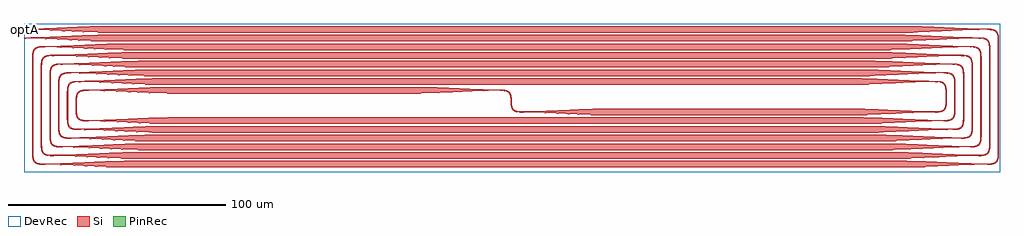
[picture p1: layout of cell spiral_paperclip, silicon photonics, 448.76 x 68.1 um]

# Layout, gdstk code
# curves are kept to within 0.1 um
import gdstk
lib = gdstk.Library(unit=1e-6, precision=1e-09)
def R(c, l, rs):  # rectangles x0, y0, x1, y1
    for r in rs: c.add(gdstk.rectangle(r[:2], r[2:], *l))
def P(c, l, *ps):  # polygons
    for p in ps: c.add(gdstk.Polygon(p, *l))
Si = (1, 0)
PinRec = (1, 10)
DevRec = (68, 0)

spiral_paperclip = lib.new_cell('spiral_paperclip')
R(spiral_paperclip, Si, [(-175,-30.5,179,-27.5), (-171,-26.5,175,-23.5), (-167,-22.5,171,-19.5), (-163,-18.5,167,-15.5), (-159,-14.5,163,-11.5), (-155,-10.5,159,-7.5), (45,-6.5,155,-3.5), (-155,3.5,-45,6.5), (-159,7.5,155,10.5), (-163,11.5,159,14.5), (-167,15.5,163,18.5), (-171,19.5,167,22.5), (-175,23.5,171,26.5), (-184,27.5,175,30.5), (-184,31.5,179,34.5)])
P(spiral_paperclip, Si, [(215,-25.25),(215,-24.75),(216.386,-24.696),(217.48,-24.521),(218.304,-24.209),(218.897,-23.746),(219.314,-23.093),(219.555,-22.341),(219.712,-21.206),(219.75,-20),(219.75,24),(219.696,25.386),(219.554,26.342),(219.36,26.982),(219.093,27.494),(218.667,27.966),(218.093,28.314),(217.341,28.555),(216.206,28.712),(215,28.75),(215,29.25),(216.431,29.195),(217.603,29.006),(218.543,28.648),(219.177,28.177),(219.647,27.544),(220.005,26.604),(220.194,25.432),(220.25,24),(220.25,-20),(220.177,-21.613),(220.006,-22.603),(219.711,-23.422),(219.267,-24.082),(218.772,-24.509),(218.168,-24.824),(217.293,-25.074),(216.243,-25.209)],
  [(-211,-25.25),(-212.431,-25.195),(-213.603,-25.006),(-214.543,-24.648),(-215.177,-24.177),(-215.647,-23.544),(-216.005,-22.604),(-216.194,-21.432),(-216.25,-20),(-216.25,16),(-216.156,17.79),(-215.966,18.75),(-215.711,19.422),(-215.267,20.082),(-214.772,20.509),(-214.168,20.824),(-213.293,21.074),(-212.243,21.209),(-211,21.25),(-211,20.75),(-212.386,20.696),(-213.48,20.521),(-214.304,20.209),(-214.897,19.746),(-215.314,19.093),(-215.555,18.341),(-215.712,17.206),(-215.75,16),(-215.75,-20),(-215.659,-21.729),(-215.521,-22.48),(-215.313,-23.094),(-214.965,-23.668),(-214.582,-24.031),(-213.981,-24.361),(-213.196,-24.585),(-212.206,-24.712),(-211,-24.75)],
  [(207,-17.25),(207,-16.75),(208.386,-16.696),(209.48,-16.521),(210.304,-16.209),(210.897,-15.746),(211.314,-15.093),(211.555,-14.341),(211.712,-13.206),(211.75,-12),(211.75,16),(211.637,17.89),(211.485,18.613),(211.262,19.201),(210.965,19.668),(210.582,20.031),(209.981,20.361),(209.196,20.585),(208.206,20.712),(207,20.75),(207,21.25),(208.431,21.195),(209.603,21.006),(210.543,20.648),(211.177,20.177),(211.647,19.544),(212.005,18.604),(212.194,17.432),(212.25,16),(212.25,-12),(212.132,-13.963),(211.923,-14.893),(211.648,-15.543),(211.267,-16.082),(210.772,-16.509),(210.168,-16.824),(209.293,-17.074),(208.243,-17.209)],
  [(-203,-17.25),(-204.431,-17.195),(-205.603,-17.006),(-206.543,-16.648),(-207.177,-16.177),(-207.647,-15.544),(-208.005,-14.604),(-208.194,-13.432),(-208.25,-12),(-208.249,8.221),(-208.195,9.431),(-208.043,10.449),(-207.825,11.167),(-207.51,11.771),(-207.083,12.266),(-206.544,12.647),(-205.894,12.922),(-205.131,13.104),(-203,13.25),(-203,12.75),(-204.386,12.696),(-205.48,12.521),(-206.304,12.209),(-206.897,11.746),(-207.314,11.093),(-207.555,10.341),(-207.712,9.206),(-207.75,8),(-207.75,-12),(-207.711,-13.207),(-207.584,-14.197),(-207.209,-15.304),(-206.896,-15.747),(-206.493,-16.094),(-205.864,-16.406),(-205.196,-16.585),(-204.206,-16.712),(-203,-16.75)],
  [(199,-9.25),(199,-8.75),(200.386,-8.696),(201.48,-8.521),(202.304,-8.209),(202.823,-7.823),(203.21,-7.303),(203.486,-6.612),(203.66,-5.728),(203.741,-4.631),(203.748,8.217),(203.696,9.386),(203.554,10.342),(203.36,10.982),(203.093,11.494),(202.746,11.897),(202.303,12.21),(201.741,12.447),(201.044,12.613),(199,12.75),(199,13.25),(199.647,13.241),(201.449,13.043),(202.167,12.825),(202.66,12.581),(203.177,12.177),(203.509,11.772),(203.769,11.298),(204.005,10.604),(204.176,9.614),(204.245,8.438),(204.241,-4.647),(204.132,-5.963),(203.923,-6.893),(203.581,-7.66),(203.083,-8.266),(202.423,-8.71),(201.604,-9.005),(200.432,-9.194)],
  [(-195,-9.25),(-196.242,-9.21),(-197.292,-9.075),(-198.167,-8.825),(-198.771,-8.51),(-199.266,-8.083),(-199.71,-7.423),(-200.005,-6.604),(-200.176,-5.614),(-200.248,-4.223),(-200.241,0.647),(-200.132,1.963),(-199.923,2.893),(-199.433,3.88),(-198.772,4.509),(-197.894,4.922),(-196.614,5.176),(-195,5.25),(-195,4.75),(-196.89,4.637),(-198.094,4.313),(-198.583,4.03),(-198.966,3.667),(-199.263,3.2),(-199.486,2.612),(-199.66,1.728),(-199.746,0.427),(-199.748,-4.217),(-199.678,-5.56),(-199.554,-6.342),(-199.313,-7.094),(-199.03,-7.583),(-198.667,-7.966),(-198.093,-8.314),(-197.341,-8.555),(-196.206,-8.712),(-195,-8.75)],
  [(5,-5.25),(3.568,-5.194),(2.396,-5.005),(1.456,-4.647),(0.823,-4.177),(0.289,-3.422),(-0.043,-2.449),(-0.21,-1.242),(-0.363,1.89),(-0.554,2.742),(-0.848,3.401),(-1.418,4.031),(-2.259,4.447),(-3.441,4.679),(-5,4.75),(-5,5.25),(-3.569,5.195),(-2.397,5.006),(-1.457,4.648),(-0.823,4.177),(-0.29,3.423),(0.042,2.45),(0.209,1.243),(0.362,-1.889),(0.553,-2.741),(0.847,-3.4),(1.417,-4.03),(2.258,-4.446),(3.44,-4.678),(5,-4.75)],
  [(195,-5.25),(195,-4.75),(196.206,-4.712),(197.341,-4.555),(198.093,-4.314),(198.667,-3.966),(199.03,-3.583),(199.313,-3.094),(199.554,-2.342),(199.678,-1.56),(199.748,-0.217),(199.746,4.427),(199.66,5.728),(199.486,6.612),(199.263,7.2),(198.966,7.667),(198.583,8.03),(198.094,8.313),(196.89,8.637),(195,8.75),(195,9.25),(196.614,9.176),(197.894,8.922),(198.772,8.509),(199.433,7.88),(199.923,6.893),(200.132,5.963),(200.241,4.647),(200.248,-0.223),(200.176,-1.614),(200.005,-2.604),(199.71,-3.423),(199.266,-4.083),(198.771,-4.51),(198.167,-4.825),(197.292,-5.075),(196.242,-5.21)],
  [(-199,-13.25),(-200.432,-13.194),(-201.604,-13.005),(-202.423,-12.71),(-203.083,-12.266),(-203.581,-11.66),(-203.923,-10.893),(-204.132,-9.963),(-204.241,-8.647),(-204.245,4.438),(-204.176,5.614),(-204.005,6.604),(-203.769,7.298),(-203.509,7.772),(-203.177,8.177),(-202.66,8.581),(-202.167,8.825),(-201.449,9.043),(-199.647,9.241),(-199,9.25),(-199,8.75),(-201.044,8.613),(-201.741,8.447),(-202.303,8.21),(-202.746,7.897),(-203.093,7.494),(-203.36,6.982),(-203.554,6.342),(-203.696,5.386),(-203.748,4.217),(-203.741,-8.631),(-203.66,-9.728),(-203.486,-10.612),(-203.21,-11.303),(-202.823,-11.823),(-202.304,-12.209),(-201.48,-12.521),(-200.386,-12.696),(-199,-12.75)],
  [(203,-13.25),(203,-12.75),(204.385,-12.697),(205.479,-12.522),(206.303,-12.21),(206.896,-11.747),(207.313,-11.094),(207.554,-10.342),(207.711,-9.207),(207.75,-8),(207.749,12.217),(207.585,14.196),(207.21,15.303),(206.897,15.746),(206.494,16.093),(205.865,16.405),(205.197,16.584),(204.207,16.711),(203,16.75),(203,17.25),(204.432,17.194),(205.604,17.005),(206.544,16.647),(207.177,16.177),(207.648,15.543),(208.006,14.603),(208.195,13.431),(208.25,12),(208.248,-8.223),(208.194,-9.432),(208.042,-10.45),(207.824,-11.168),(207.509,-11.772),(207.082,-12.267),(206.543,-12.648),(205.893,-12.923),(205.13,-13.105)],
  [(-207,-21.25),(-208.432,-21.194),(-209.604,-21.005),(-210.544,-20.647),(-211.177,-20.177),(-211.648,-19.543),(-212.006,-18.603),(-212.195,-17.431),(-212.25,-16),(-212.25,12),(-212.131,13.964),(-211.922,14.894),(-211.647,15.544),(-211.266,16.083),(-210.771,16.51),(-210.167,16.825),(-209.292,17.075),(-208.242,17.21),(-207,17.25),(-207,16.75),(-208.385,16.697),(-209.479,16.522),(-210.303,16.21),(-210.896,15.747),(-211.313,15.094),(-211.554,14.342),(-211.711,13.207),(-211.75,12),(-211.75,-16),(-211.638,-17.889),(-211.486,-18.612),(-211.263,-19.2),(-210.966,-19.667),(-210.583,-20.03),(-209.982,-20.36),(-209.197,-20.584),(-208.207,-20.711),(-207,-20.75)],
  [(211,-21.25),(211,-20.75),(212.385,-20.697),(213.479,-20.522),(214.303,-20.21),(214.896,-19.747),(215.313,-19.094),(215.554,-18.342),(215.711,-17.207),(215.75,-16),(215.75,20),(215.66,21.728),(215.522,22.479),(215.314,23.093),(214.966,23.667),(214.583,24.03),(213.982,24.36),(213.197,24.584),(212.207,24.711),(211,24.75),(211,25.25),(212.432,25.194),(213.604,25.005),(214.544,24.647),(215.177,24.177),(215.648,23.543),(216.006,22.603),(216.195,21.431),(216.25,20),(216.25,-16),(216.155,-17.791),(215.965,-18.751),(215.71,-19.423),(215.266,-20.083),(214.771,-20.51),(214.167,-20.825),(213.292,-21.075),(212.242,-21.21)],
  [(-215,-29.25),(-216.432,-29.194),(-217.604,-29.005),(-218.544,-28.647),(-219.177,-28.177),(-219.648,-27.543),(-220.006,-26.603),(-220.195,-25.431),(-220.25,-24),(-220.25,20),(-220.176,21.614),(-220.005,22.604),(-219.71,23.423),(-219.266,24.083),(-218.771,24.51),(-218.167,24.825),(-217.292,25.075),(-216.242,25.21),(-215,25.25),(-215,24.75),(-216.385,24.697),(-217.479,24.522),(-218.303,24.21),(-218.896,23.747),(-219.313,23.094),(-219.554,22.342),(-219.711,21.207),(-219.75,20),(-219.75,-24),(-219.697,-25.385),(-219.555,-26.341),(-219.361,-26.981),(-219.094,-27.493),(-218.668,-27.965),(-218.094,-28.313),(-217.342,-28.554),(-216.207,-28.711),(-215,-28.75)],
  [(219,-29.25),(219,-28.75),(220.385,-28.697),(221.479,-28.522),(222.303,-28.21),(222.896,-27.747),(223.313,-27.094),(223.554,-26.342),(223.711,-25.207),(223.75,-24),(223.712,29.206),(223.585,30.196),(223.406,30.864),(223.094,31.493),(222.668,31.965),(222.094,32.313),(221.342,32.554),(220.207,32.711),(219,32.75),(219,33.25),(220.432,33.194),(221.604,33.005),(222.544,32.647),(223.177,32.177),(223.648,31.543),(224.006,30.603),(224.195,29.431),(224.25,28),(224.25,-24),(224.194,-25.432),(224.042,-26.45),(223.769,-27.298),(223.432,-27.881),(222.88,-28.433),(222.297,-28.77),(221.449,-29.043),(220.431,-29.195)],
  [(-184,27.5),(-194.28,27.693),(-215.12,28.605),(-224,28.75),(-224,29.25),(-215.28,29.39),(-194.28,30.307),(-184,30.5)],
  [(175,27.5),(175,30.5),(185.28,30.307),(206.12,29.395),(215,29.25),(215,28.75),(206.28,28.61),(185.28,27.693)],
  [(175,-26.5),(175,-23.5),(185.28,-23.693),(206.12,-24.605),(215,-24.75),(215,-25.25),(206.28,-25.39),(185.28,-26.307)],
  [(-171,-26.5),(-181.28,-26.307),(-202.12,-25.395),(-211,-25.25),(-211,-24.75),(-202.28,-24.61),(-181.28,-23.693),(-171,-23.5)],
  [(-171,19.5),(-181.28,19.693),(-202.12,20.605),(-211,20.75),(-211,21.25),(-202.28,21.39),(-181.28,22.307),(-171,22.5)],
  [(167,19.5),(167,22.5),(177.28,22.307),(198.12,21.395),(207,21.25),(207,20.75),(198.28,20.61),(177.28,19.693)],
  [(167,-18.5),(167,-15.5),(177.28,-15.693),(198.12,-16.605),(207,-16.75),(207,-17.25),(198.28,-17.39),(177.28,-18.307)],
  [(-163,-18.5),(-173.28,-18.307),(-194.12,-17.395),(-203,-17.25),(-203,-16.75),(-194.28,-16.61),(-173.28,-15.693),(-163,-15.5)],
  [(-163,11.5),(-173.28,11.693),(-194.12,12.605),(-203,12.75),(-203,13.25),(-194.28,13.39),(-173.28,14.307),(-163,14.5)],
  [(159,11.5),(159,14.5),(169.28,14.307),(190.12,13.395),(199,13.25),(199,12.75),(190.28,12.61),(169.28,11.693)],
  [(159,-10.5),(159,-7.5),(169.28,-7.693),(190.12,-8.605),(199,-8.75),(199,-9.25),(190.28,-9.39),(169.28,-10.307)],
  [(-155,-10.5),(-165.28,-10.307),(-186.12,-9.395),(-195,-9.25),(-195,-8.75),(-186.28,-8.61),(-165.28,-7.693),(-155,-7.5)],
  [(-155,3.5),(-165.28,3.693),(-186.12,4.605),(-195,4.75),(-195,5.25),(-186.28,5.39),(-165.28,6.307),(-155,6.5)],
  [(-45,3.5),(-45,6.5),(-34.72,6.307),(-13.88,5.395),(-5,5.25),(-5,4.75),(-13.72,4.61),(-34.72,3.693)],
  [(45,-6.5),(34.72,-6.307),(13.88,-5.395),(5,-5.25),(5,-4.75),(13.72,-4.61),(34.72,-3.693),(45,-3.5)],
  [(155,-6.5),(155,-3.5),(165.28,-3.693),(186.12,-4.605),(195,-4.75),(195,-5.25),(186.28,-5.39),(165.28,-6.307)],
  [(155,7.5),(155,10.5),(165.28,10.307),(186.12,9.395),(195,9.25),(195,8.75),(186.28,8.61),(165.28,7.693)],
  [(-159,7.5),(-169.28,7.693),(-190.12,8.605),(-199,8.75),(-199,9.25),(-190.28,9.39),(-169.28,10.307),(-159,10.5)],
  [(-159,-14.5),(-169.28,-14.307),(-190.12,-13.395),(-199,-13.25),(-199,-12.75),(-190.28,-12.61),(-169.28,-11.693),(-159,-11.5)],
  [(163,-14.5),(163,-11.5),(173.28,-11.693),(194.12,-12.605),(203,-12.75),(203,-13.25),(194.28,-13.39),(173.28,-14.307)],
  [(163,15.5),(163,18.5),(173.28,18.307),(194.12,17.395),(203,17.25),(203,16.75),(194.28,16.61),(173.28,15.693)],
  [(-167,15.5),(-177.28,15.693),(-198.12,16.605),(-207,16.75),(-207,17.25),(-198.28,17.39),(-177.28,18.307),(-167,18.5)],
  [(-167,-22.5),(-177.28,-22.307),(-198.12,-21.395),(-207,-21.25),(-207,-20.75),(-198.28,-20.61),(-177.28,-19.693),(-167,-19.5)],
  [(171,-22.5),(171,-19.5),(181.28,-19.693),(202.12,-20.605),(211,-20.75),(211,-21.25),(202.28,-21.39),(181.28,-22.307)],
  [(171,23.5),(171,26.5),(181.28,26.307),(202.12,25.395),(211,25.25),(211,24.75),(202.28,24.61),(181.28,23.693)],
  [(-175,23.5),(-185.28,23.693),(-206.12,24.605),(-215,24.75),(-215,25.25),(-206.28,25.39),(-185.28,26.307),(-175,26.5)],
  [(-175,-30.5),(-185.28,-30.307),(-206.12,-29.395),(-215,-29.25),(-215,-28.75),(-206.28,-28.61),(-185.28,-27.693),(-175,-27.5)],
  [(179,-30.5),(179,-27.5),(189.28,-27.693),(210.12,-28.605),(219,-28.75),(219,-29.25),(210.28,-29.39),(189.28,-30.307)],
  [(179,31.5),(179,34.5),(189.28,34.307),(210.12,33.395),(219,33.25),(219,32.75),(210.28,32.61),(189.28,31.693)],
  [(-184,31.5),(-194.28,31.693),(-215.12,32.605),(-224,32.75),(-224,33.25),(-215.28,33.39),(-194.28,34.307),(-184,34.5)])
R(spiral_paperclip, DevRec, [(-224,-32.6,224.75,35.5)])
spiral_paperclip.add(gdstk.FlexPath([(-223.99,33),(-224.01,33)], 0.5, ends="flush", simple_path=True, layer=1, datatype=10))  # PinRec
spiral_paperclip.add(gdstk.FlexPath([(-223.99,29),(-224.01,29)], 0.5, ends="flush", simple_path=True, layer=1, datatype=10))  # PinRec
spiral_paperclip.add(gdstk.Label('optA', (-224,33), layer=1, texttype=10))
spiral_paperclip.add(gdstk.Label('optB', (-224,29), layer=1, texttype=10))

lib.write_gds('spiral_paperclip.gds')
